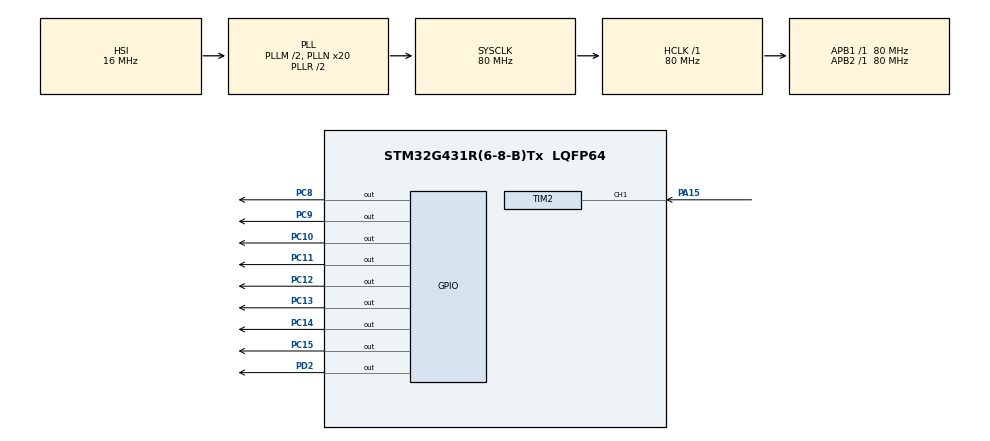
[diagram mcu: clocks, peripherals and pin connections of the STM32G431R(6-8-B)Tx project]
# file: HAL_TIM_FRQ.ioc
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Mcu.Family=STM32G4
Mcu.Name=STM32G431R(6-8-B)Tx
Mcu.Package=LQFP64
NVIC.PriorityGroup=NVIC_PRIORITYGROUP_4
NVIC.TIM2_IRQn=true\:0\:0\:false\:false\:true\:true\:true
PA15.Signal=S_TIM2_CH1
PC10.Signal=GPIO_Output
PC11.Signal=GPIO_Output
PC12.Signal=GPIO_Output
PC13.Signal=GPIO_Output
PC14-OSC32_IN.Signal=GPIO_Output
PC15-OSC32_OUT.Signal=GPIO_Output
PC8.Signal=GPIO_Output
PC9.Signal=GPIO_Output
PD2.Signal=GPIO_Output
PF0-OSC_IN.Mode=HSE-External-Oscillator
PF0-OSC_IN.Signal=RCC_OSC_IN
PF1-OSC_OUT.Mode=HSE-External-Oscillator
PF1-OSC_OUT.Signal=RCC_OSC_OUT
ProjectManager.HeapSize=0x200
ProjectManager.StackSize=0x400
ProjectManager.TargetToolchain=MDK-ARM V5.27
RCC.ADC12Freq_Value=80000000
RCC.AHBFreq_Value=80000000
RCC.APB1Freq_Value=80000000
RCC.APB1TimFreq_Value=80000000
RCC.APB2Freq_Value=80000000
RCC.APB2TimFreq_Value=80000000
RCC.CortexFreq_Value=80000000
RCC.EXTERNAL_CLOCK_VALUE=12288000
RCC.HCLKFreq_Value=80000000
RCC.HSE_VALUE=24000000
RCC.HSI48_VALUE=48000000
RCC.HSI_VALUE=16000000
RCC.LSE_VALUE=32768
RCC.PLLM=RCC_PLLM_DIV2
RCC.PLLN=20
RCC.SYSCLKFreq_VALUE=80000000
RCC.SYSCLKSource=RCC_SYSCLKSOURCE_PLLCLK
RCC.USBFreq_Value=80000000
RCC.VCOOutputFreq_Value=160000000
SH.S_TIM2_CH1.0=TIM2_CH1,Input_Capture1_from_TI1
TIM2.Channel-Input_Capture1_from_TI1=TIM_CHANNEL_1
VP_SYS_VS_DBSignals.Mode=DisableDeadBatterySignals
board=custom

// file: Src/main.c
/* USER CODE BEGIN Header */
/**
  ******************************************************************************
  * @file           : main.c
  * @brief          : Main program body
  ******************************************************************************
  * @attention
  *
  * <h2><center>&copy; Copyright (c) 2021 STMicroelectronics.
  * All rights reserved.</center></h2>
  *
  * This software component is licensed by ST under BSD 3-Clause license,
  * the "License"; You may not use this file except in compliance with the
  * License. You may obtain a copy of the License at:
  *                        opensource.org/licenses/BSD-3-Clause
  *
  ******************************************************************************
  */
/* USER CODE END Header */

#include "main.h"

TIM_HandleTypeDef htim2;

void SystemClock_Config(void);
static void MX_GPIO_Init(void);
static void MX_TIM2_Init(void);

/* USER CODE BEGIN 0 */
uint32_t  cc1_value_2 = 0;  									// TIMx_CCR1 的值
uint32_t  f40 = 0;

void HAL_TIM_IC_CaptureCallback(TIM_HandleTypeDef *htim)
{

	cc1_value_2 = __HAL_TIM_GET_COUNTER(&htim2);
	__HAL_TIM_SetCounter(&htim2,0);
	f40 = 1000000/cc1_value_2;

	HAL_TIM_IC_Start_IT(&htim2, TIM_CHANNEL_1);
}
/* USER CODE END 0 */

int main(void)
{
  /* USER CODE BEGIN 1 */
	char buf[20];
  /* USER CODE END 1 */

  /* MCU Configuration--------------------------------------------------------*/

  /* Reset of all peripherals, Initializes the Flash interface and the Systick. */
  HAL_Init();

  /* Configure the system clock */
  SystemClock_Config();

  /* Initialize all configured peripherals */
  MX_GPIO_Init();
  MX_TIM2_Init();
  /* USER CODE BEGIN 2 */
	LCD_Init();

	LCD_Clear(Blue);
	LCD_SetBackColor(Blue);
	LCD_SetTextColor(White);

	LCD_DisplayStringLine(Line0, (uint8_t *)"                    ");
	LCD_DisplayStringLine(Line1, (uint8_t *)"                    ");
	LCD_DisplayStringLine(Line2, (uint8_t *)"      TIM Test      ");
	LCD_DisplayStringLine(Line3, (uint8_t *)"                    ");
	LCD_DisplayStringLine(Line4, (uint8_t *)"                    ");

	LCD_SetBackColor(White);
	LCD_SetTextColor(Blue);

	LCD_DisplayStringLine(Line5, (uint8_t *)"                    ");
	LCD_DisplayStringLine(Line6, (uint8_t *)"      TIM2 CH1      ");
	LCD_DisplayStringLine(Line7, (uint8_t *)"                    ");
	LCD_DisplayStringLine(Line8, (uint8_t *)"                    ");
	LCD_DisplayStringLine(Line9, (uint8_t *)"                    ");
  /* USER CODE END 2 */

  /* Infinite loop */
  while (1)
  {
		sprintf(buf, "  FRQ(R40):%dHz   ",f40);
		LCD_DisplayStringLine(Line8, (uint8_t *)buf);

		HAL_Delay(200);
  }
}

void SystemClock_Config(void)
{
  RCC_OscInitTypeDef RCC_OscInitStruct = {0};
  RCC_ClkInitTypeDef RCC_ClkInitStruct = {0};

  /** Configure the main internal regulator output voltage
  */
  HAL_PWREx_ControlVoltageScaling(PWR_REGULATOR_VOLTAGE_SCALE1);
  /** Initializes the CPU, AHB and APB busses clocks
  */
  RCC_OscInitStruct.OscillatorType = RCC_OSCILLATORTYPE_HSI;
  RCC_OscInitStruct.HSIState = RCC_HSI_ON;
  RCC_OscInitStruct.HSICalibrationValue = RCC_HSICALIBRATION_DEFAULT;
  RCC_OscInitStruct.PLL.PLLState = RCC_PLL_ON;
  RCC_OscInitStruct.PLL.PLLSource = RCC_PLLSOURCE_HSI;
  RCC_OscInitStruct.PLL.PLLM = RCC_PLLM_DIV2;
  RCC_OscInitStruct.PLL.PLLN = 20;
  RCC_OscInitStruct.PLL.PLLP = RCC_PLLP_DIV2;
  RCC_OscInitStruct.PLL.PLLQ = RCC_PLLQ_DIV2;
  RCC_OscInitStruct.PLL.PLLR = RCC_PLLR_DIV2;
  if (HAL_RCC_OscConfig(&RCC_OscInitStruct) != HAL_OK)
  {
    Error_Handler();
  }
  /** Initializes the CPU, AHB and APB busses clocks
  */
  RCC_ClkInitStruct.ClockType = RCC_CLOCKTYPE_HCLK|RCC_CLOCKTYPE_SYSCLK
                              |RCC_CLOCKTYPE_PCLK1|RCC_CLOCKTYPE_PCLK2;
  RCC_ClkInitStruct.SYSCLKSource = RCC_SYSCLKSOURCE_PLLCLK;
  RCC_ClkInitStruct.AHBCLKDivider = RCC_SYSCLK_DIV1;
  RCC_ClkInitStruct.APB1CLKDivider = RCC_HCLK_DIV1;
  RCC_ClkInitStruct.APB2CLKDivider = RCC_HCLK_DIV1;

  if (HAL_RCC_ClockConfig(&RCC_ClkInitStruct, FLASH_LATENCY_3) != HAL_OK)
  {
    Error_Handler();
  }
}

static void MX_TIM2_Init(void)
{

  TIM_MasterConfigTypeDef sMasterConfig = {0};
  TIM_IC_InitTypeDef sConfigIC = {0};

  htim2.Instance = TIM2;
  htim2.Init.Prescaler = 80;
  htim2.Init.CounterMode = TIM_COUNTERMODE_UP;
  htim2.Init.Period = 0xFFFF;
  htim2.Init.ClockDivision = TIM_CLOCKDIVISION_DIV1;
  htim2.Init.AutoReloadPreload = TIM_AUTORELOAD_PRELOAD_DISABLE;
  if (HAL_TIM_IC_Init(&htim2) != HAL_OK)
  {
    Error_Handler();
  }
  sMasterConfig.MasterOutputTrigger = TIM_TRGO_RESET;
  sMasterConfig.MasterSlaveMode = TIM_MASTERSLAVEMODE_DISABLE;
  if (HAL_TIMEx_MasterConfigSynchronization(&htim2, &sMasterConfig) != HAL_OK)
  {
    Error_Handler();
  }
  sConfigIC.ICPolarity = TIM_INPUTCHANNELPOLARITY_RISING;
  sConfigIC.ICSelection = TIM_ICSELECTION_DIRECTTI;
  sConfigIC.ICPrescaler = TIM_ICPSC_DIV1;
  sConfigIC.ICFilter = 0;
  if (HAL_TIM_IC_ConfigChannel(&htim2, &sConfigIC, TIM_CHANNEL_1) != HAL_OK)
  {
    Error_Handler();
  }
  /* USER CODE BEGIN TIM2_Init 2 */
	HAL_TIM_IC_Start_IT(&htim2, TIM_CHANNEL_1);
  /* USER CODE END TIM2_Init 2 */

}

static void MX_GPIO_Init(void)
{
  GPIO_InitTypeDef GPIO_InitStruct = {0};

  /* GPIO Ports Clock Enable */
  __HAL_RCC_GPIOC_CLK_ENABLE();
  __HAL_RCC_GPIOF_CLK_ENABLE();
  __HAL_RCC_GPIOA_CLK_ENABLE();
  __HAL_RCC_GPIOD_CLK_ENABLE();

  /*Configure GPIO pin Output Level */
  HAL_GPIO_WritePin(GPIOC, GPIO_PIN_13|GPIO_PIN_14|GPIO_PIN_15|GPIO_PIN_8
                          |GPIO_PIN_9|GPIO_PIN_10|GPIO_PIN_11|GPIO_PIN_12, GPIO_PIN_RESET);

  /*Configure GPIO pin Output Level */
  HAL_GPIO_WritePin(GPIOD, GPIO_PIN_2, GPIO_PIN_RESET);

  /*Configure GPIO pins : PC13 PC14 PC15 PC8
                           PC9 PC10 PC11 PC12 */
  GPIO_InitStruct.Pin = GPIO_PIN_13|GPIO_PIN_14|GPIO_PIN_15|GPIO_PIN_8
                          |GPIO_PIN_9|GPIO_PIN_10|GPIO_PIN_11|GPIO_PIN_12;
  GPIO_InitStruct.Mode = GPIO_MODE_OUTPUT_PP;
  GPIO_InitStruct.Pull = GPIO_NOPULL;
  GPIO_InitStruct.Speed = GPIO_SPEED_FREQ_LOW;
  HAL_GPIO_Init(GPIOC, &GPIO_InitStruct);

  /*Configure GPIO pin : PD2 */
  GPIO_InitStruct.Pin = GPIO_PIN_2;
  GPIO_InitStruct.Mode = GPIO_MODE_OUTPUT_PP;
  GPIO_InitStruct.Pull = GPIO_NOPULL;
  GPIO_InitStruct.Speed = GPIO_SPEED_FREQ_LOW;
  HAL_GPIO_Init(GPIOD, &GPIO_InitStruct);

}

void Error_Handler(void)
{
}

/************************ (C) COPYRIGHT STMicroelectronics *****END OF FILE****/
